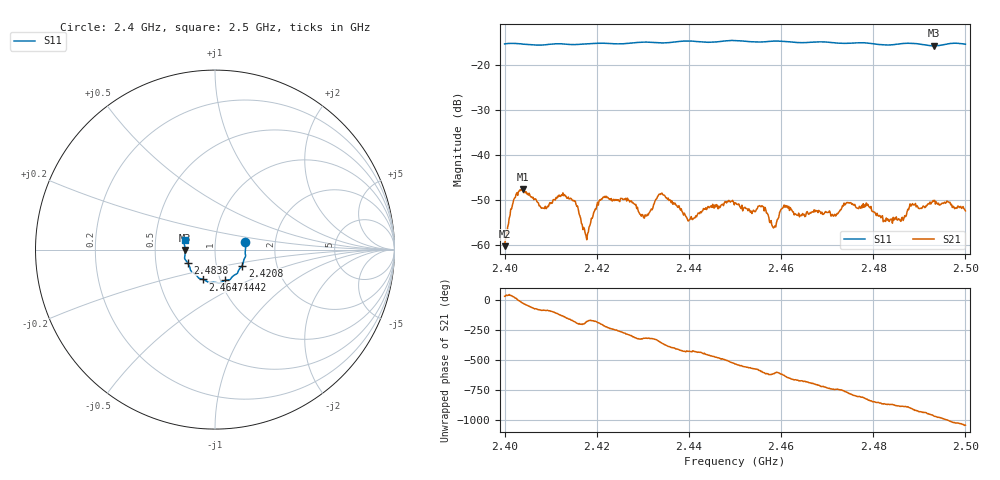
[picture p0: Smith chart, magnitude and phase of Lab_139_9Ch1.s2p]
# Hz S RI R 50
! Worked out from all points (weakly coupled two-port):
!   601 points, 2.4 GHz to 2.5 GHz, reference 50 ohm
!   highest |S21| = -47.50 dB at 2.404 GHz (marker M1); lowest = -60.2 dB at 2.4 GHz (marker M2)
!   lowest |S11| = -15.6 dB at 2.4932 GHz (marker M3), VSWR 1.40, Z = 35.8 - j0.143 ohm
!   |S11| at or under -10 dB: start of sweep to end of sweep
!   S12 and S22 are empty: the file has one direction only
!   S11 on the Smith chart (normalised r, x): 2.4 GHz: 1.40, +0.12; 2.4208 GHz: 1.33, -0.25; 2.4442 GHz: 1.05, -0.37; 2.4647 GHz: 0.83, -0.29; 2.4838 GHz: 0.73, -0.11; 2.5 GHz: 0.71, +0.07
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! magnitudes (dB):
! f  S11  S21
! 2.4 GHz  -15.2  -60.2
! 2.4022 GHz  -15.1  -49.5
! 2.404 GHz  -15.3  -47.5
! 2.4085 GHz  -15.4  -51.8
! 2.4128 GHz  -15.2  -49.0
! 2.4167 GHz  -15.3  -55.1
! 2.418 GHz  -15.2  -57.4
! 2.4208 GHz  -15.1  -50.0
! 2.4307 GHz  -14.8  -53.4
! 2.4333 GHz  -15.0  -49.0
! 2.4398 GHz  -14.6  -54.6
! 2.4442 GHz  -14.9  -51.4
! 2.45 GHz  -14.5  -50.5
! 2.4585 GHz  -14.6  -56.0
! 2.4608 GHz  -14.7  -51.5
! 2.4647 GHz  -14.9  -52.9
! 2.4667 GHz  -14.8  -52.6
! 2.4747 GHz  -15.1  -50.5
! 2.4833 GHz  -15.5  -54.6
! 2.4838 GHz  -15.4  -54.2
! 2.4932 GHz  -15.6  -50.2
! 2.5 GHz  -15.3  -52.3
